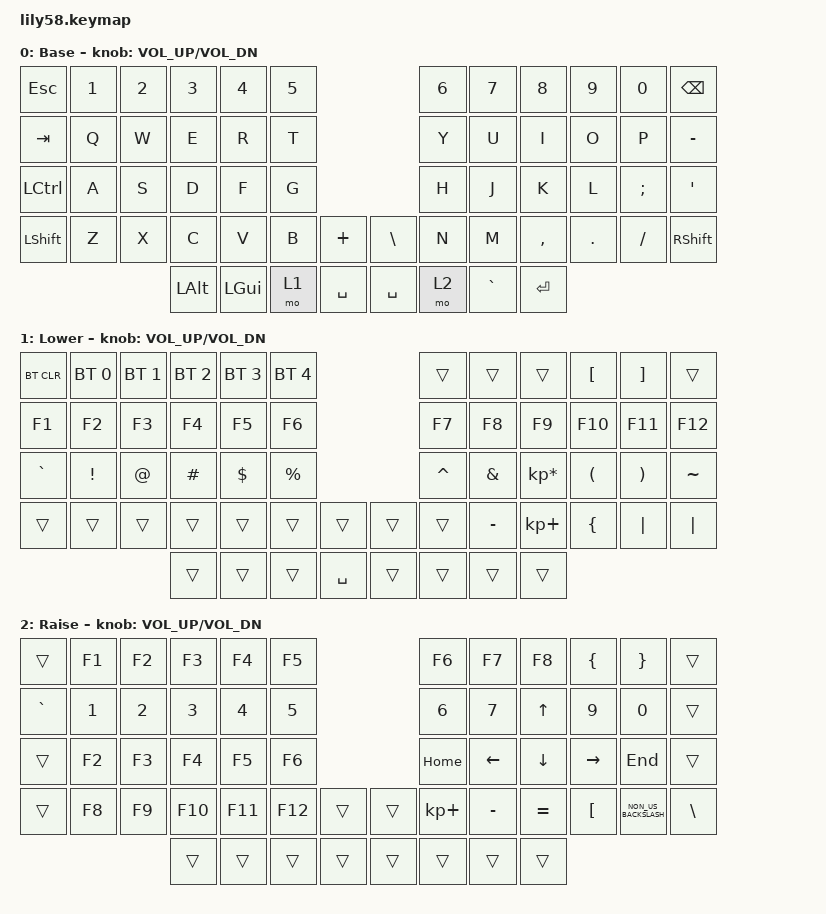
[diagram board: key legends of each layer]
/*
 * Copyright (c) 2020 The ZMK Contributors
 *
 * SPDX-License-Identifier: MIT
 */

#include <behaviors.dtsi>
#include <dt-bindings/zmk/bt.h>
#include <dt-bindings/zmk/keys.h>

/ {
    keymap {
        compatible = "zmk,keymap";

        default_layer {
            // ------------------------------------------------------------------------------------------------------------
            // |  ESC  |  1  |  2  |  3   |  4   |  5   |                   |  6   |  7    |  8    |  9   |   0   |   `   |
            // |  TAB  |  Q  |  W  |  E   |  R   |  T   |                   |  Y   |  U    |  I    |  O   |   P   |   -   |
            // |  CTRL |  A  |  S  |  D   |  F   |  G   |                   |  H   |  J    |  K    |  L   |   ;   |   '   |
            // | SHIFT |  Z  |  X  |  C   |  V   |  B   |   "["  |  |  "]"  |  N   |  M    |  ,    |  .   |   /   | SHIFT |
            //                     | ALT  | GUI  | LOWER|  SPACE |  | ENTER | RAISE| BSPC  | GUI   |

            display-name = "Base";
            bindings = <
&kp ESC    &kp N1  &kp N2  &kp N3    &kp N4    &kp N5                              &kp N6  &kp N7     &kp N8     &kp N9   &kp N0    &kp BACKSPACE
&kp TAB    &kp Q   &kp W   &kp E     &kp R     &kp T                               &kp Y   &kp U      &kp I      &kp O    &kp P     &kp MINUS
&kp LCTRL  &kp A   &kp S   &kp D     &kp F     &kp G                               &kp H   &kp J      &kp K      &kp L    &kp SEMI  &kp SQT
&kp LSHFT  &kp Z   &kp X   &kp C     &kp V     &kp B   &kp PLUS     &kp BACKSLASH  &kp N   &kp M      &kp COMMA  &kp DOT  &kp FSLH  &kp RSHFT
                           &kp LALT  &kp LGUI  &mo 1   &kp SPACE    &kp SPACE      &mo 2   &kp GRAVE  &kp ENTER
            >;

            sensor-bindings = <&inc_dec_kp C_VOL_UP C_VOL_DN>;
        };

        lower_layer {
            // ------------------------------------------------------------------------------------------------------------
            // | BTCLR | BT1 | BT2 |  BT3 |  BT4 |  BT5 |                   |      |       |       |      |       |       |
            // |  F1   |  F2 |  F3 |  F4  |  F5  |  F6  |                   |  F7  |  F8   |  F9   |  F10 |  F11  |  F12  |
            // |   `   |  !  |  @  |  #   |  $   |  %   |                   |  ^   |  &    |  *    |  (   |   )   |   ~   |
            // |       |     |     |      |      |      |        |  |       |      |  _    |  +    |  {   |   }   |  "|"  |
            //                     |      |      |      |        |  |       |      |       |       |

            display-name = "Lower";
            bindings = <
&bt BT_CLR  &bt BT_SEL 0  &bt BT_SEL 1  &bt BT_SEL 2  &bt BT_SEL 3  &bt BT_SEL 4                       &trans     &trans     &trans           &kp LEFT_BRACKET  &kp RIGHT_BRACKET  &trans
&kp F1      &kp F2        &kp F3        &kp F4        &kp F5        &kp F6                             &kp F7     &kp F8     &kp F9           &kp F10           &kp F11            &kp F12
&kp GRAVE   &kp EXCL      &kp AT        &kp HASH      &kp DOLLAR    &kp PRCNT                          &kp CARET  &kp AMPS   &kp KP_MULTIPLY  &kp LPAR          &kp RPAR           &kp TILDE
&trans      &trans        &trans        &trans        &trans        &trans        &trans       &trans  &trans     &kp MINUS  &kp KP_PLUS      &kp LBRC          &kp PIPE           &kp PIPE
                                        &trans        &trans        &trans        &kp SPACE    &trans  &trans     &trans     &trans
            >;

            sensor-bindings = <&inc_dec_kp C_VOL_UP C_VOL_DN>;
        };

        raise_layer {
            // ------------------------------------------------------------------------------------------------------------
            // |       |     |     |      |      |      |                   |      |       |       |      |       |       |
            // |   `   |  1  |  2  |  3   |  4   |  5   |                   |  6   |   7   |   8   |  9   |   0   |       |
            // |   F1  |  F2 |  F3 |  F4  |  F5  |  F6  |                   |      |   <-  |   v   |  ^   |  ->   |       |
            // |   F7  |  F8 |  F9 |  F10 |  F11 |  F12 |        |  |       |  +   |   -   |   =   |  [   |   ]   |   \   |
            //                     |      |      |      |        |  |       |      |       |       |

            display-name = "Raise";
            bindings = <
&trans     &kp F1  &kp F2  &kp F3   &kp F4   &kp F5                     &kp F6       &kp F7     &kp F8        &kp LEFT_BRACE  &kp RIGHT_BRACE       &trans
&kp GRAVE  &kp N1  &kp N2  &kp N3   &kp N4   &kp N5                     &kp N6       &kp N7     &kp UP_ARROW  &kp N9          &kp N0                &trans
&trans     &kp F2  &kp F3  &kp F4   &kp F5   &kp F6                     &kp HOME     &kp LEFT   &kp DOWN      &kp RIGHT       &kp END               &trans
&trans     &kp F8  &kp F9  &kp F10  &kp F11  &kp F12  &trans    &trans  &kp KP_PLUS  &kp MINUS  &kp EQUAL     &kp LBKT        &kp NON_US_BACKSLASH  &kp BSLH
                           &trans   &trans   &trans   &trans    &trans  &trans       &trans     &trans
            >;

            sensor-bindings = <&inc_dec_kp C_VOL_UP C_VOL_DN>;
        };

        extra_1 { status = "reserved"; };

        extra_2 { status = "reserved"; };

        extra_3 { status = "reserved"; };
    };
};
